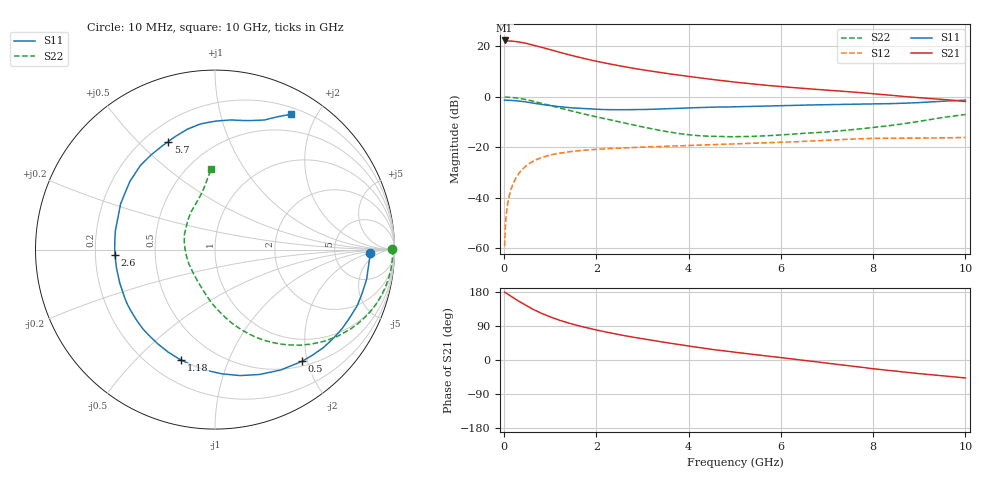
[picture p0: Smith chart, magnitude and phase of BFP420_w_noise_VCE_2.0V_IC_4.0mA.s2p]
! Infineon Technologies  Discrete & RF Semiconductors
! BFP420
! VCE =  2.0 V,  IC =  4.0 mA
! Common Emitter S-Parameters:  Jan 2016
# GHz  S  MA  R  50
!  f  S11  S21  S12  S22
! GHz  MAG  ANG  MAG  ANG  MAG  ANG  MAG  ANG
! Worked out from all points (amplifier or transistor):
!   233 points, 10 MHz to 10 GHz, reference 50 ohm
!   highest |S21| = 22.4 dB at 10 MHz (marker M1)
!   |S21| within 3 dB of that: start of sweep to 868.4 MHz
!   unconditionally stable (mu >= 1): 3.195 GHz to end of sweep
!   at 200 MHz: K = 0.06, MSG = 28.1 dB, |S12| = -34.2 dB
!   at 1.74 GHz: K = 0.54, MSG = 18.2 dB, |S12| = -21.1 dB
!   at 10 GHz: K = 1.14, MAG = 4.8 dB, |S12| = -16.1 dB
!   lowest NFmin = 0.61 dB at 900 MHz
!   S11 on the Smith chart (normalised r, x): 10 MHz: 13, -2; 500 MHz: 0.58, -1.91; 1.18 GHz: 0.33, -0.69; 2.6 GHz: 0.28, -0.02; 5.7 GHz: 0.29, +0.62; 10 GHz: 0.28, +1.67
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0.01  0.8617 -1.1  13.17 179.3  0.0011 106.3  0.9871 0.1
0.02  0.8643 -2.2  12.83 178.6  0.002 85.9  0.9906 -1.2
0.085  0.8599 -9.2  12.88 173.2  0.0085 84.5  0.9872 -5.4
0.175  0.853 -18.7  12.75 166.1  0.0172 79.9  0.9751 -11.2
0.28  0.8359 -29.9  12.42 157.8  0.0269 74.1  0.9515 -17.6
0.4  0.8141 -42.1  11.92 149.0  0.0371 67.8  0.9138 -24.7
0.5  0.7894 -52.0  11.4 142.0  0.0447 63.0  0.8765 -30.2
0.62  0.7576 -63.1  10.74 134.2  0.0526 57.6  0.8274 -36.2
0.8  0.7157 -78.7  9.702 123.7  0.0623 50.7  0.7534 -44.3
1  0.6737 -94.5  8.64 113.7  0.0705 44.3  0.6748 -52.0
1.18  0.6428 -107.1  7.774 105.9  0.0762 39.7  0.611 -58.0
1.4  0.6146 -121.1  6.873 97.4  0.0816 35.0  0.5431 -64.6
1.68  0.5895 -136.6  5.945 88.2  0.0868 30.3  0.4703 -71.7
2.16  0.5628 -159.1  4.754 75.0  0.0934 24.3  0.3735 -82.4
2.6  0.5594 -177.2  3.982 64.4  0.0977 20.1  0.3037 -92.5
3.4  0.5775 157.0  3.036 48.2  0.1041 14.5  0.2153 -113.0
4.1  0.6099 139.4  2.48 35.1  0.1099 10.7  0.1742 -136.5
5.1  0.6388 122.2  1.922 19.1  0.1177 5.9  0.163 -169.2
5.7  0.6558 113.4  1.696 10.6  0.1226 3.4  0.17 173.4
6.8  0.6972 99.1  1.405 -5.2  0.1357 -1.9  0.1966 147.2
8.4  0.7373 77.2  1.073 -28.5  0.1516 -14.8  0.2729 113.8
10  0.8627 60.8  0.811 -47.4  0.1572 -23.6  0.4483 92.8
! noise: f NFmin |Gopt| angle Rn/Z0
0.9  0.61  0.27  32  0.16
1.8  1.03  0.14  83  0.13
2.4  1.11  0.17  110  0.14
3  1.23  0.2  153  0.11
4  1.42  0.31  -151  0.11
5  1.77  0.38  -123  0.23
6  2.35  0.47  -104  0.33
